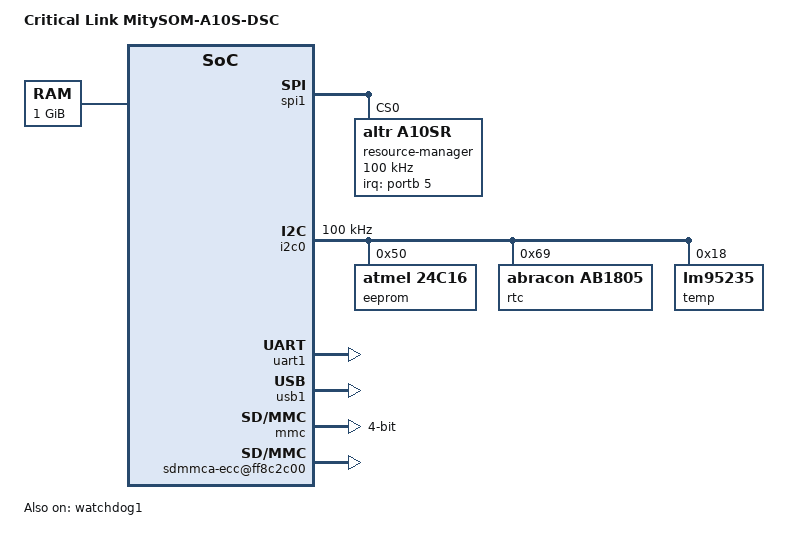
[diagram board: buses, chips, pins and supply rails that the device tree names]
/*
 * Copyright (C) 2015 Altera Corporation <www.altera.com>
 *
 * This program is free software; you can redistribute it and/or modify
 * it under the terms of the GNU General Public License as published by
 * the Free Software Foundation; either version 2 of the License, or
 * (at your option) any later version.
 *
 * This program is distributed in the hope that it will be useful,
 * but WITHOUT ANY WARRANTY; without even the implied warranty of
 * MERCHANTABILITY or FITNESS FOR A PARTICULAR PURPOSE.  See the
 * GNU General Public License for more details.
 *
 * You should have received a copy of the GNU General Public License
 * along with this program.  If not, see <http://www.gnu.org/licenses/>.
 */
#include "socfpga_arria10.dtsi"
#include <dt-bindings/gpio/gpio.h>

/ {
	model = "Critical Link MitySOM-A10S-DSC";
	compatible = "altr,socfpga-arria10", "altr,socfpga";

	aliases {
		ethernet0 = &gmac0;
		serial0 = &uart1;
	};

	chosen {
		bootargs = "earlyprintk";
		stdout-path = "serial0:115200n8";
	};

	memory@0 {
		name = "memory";
		device_type = "memory";
		reg = <0x0 0x40000000>; /* 1GB */
	};

	soc {
		clkmgr@ffd04000 {
			clocks {
				osc1 {
					clock-frequency = <50000000>;
				};
			};
		};
	};
};

&spi1 {
	/* status = "okay"; */

	resource-manager@0 {
		compatible = "altr,a10sr";
		reg = <0>;
		spi-max-frequency = <100000>;
		/* low-level active IRQ at GPIO1_5 */
		interrupt-parent = <&portb>;
		interrupts = <5 IRQ_TYPE_LEVEL_LOW>;
		interrupt-controller;
		#interrupt-cells = <2>;

		a10sr_gpio: gpio-controller {
			compatible = "altr,a10sr-gpio";
			gpio-controller;
			#gpio-cells = <2>;
		};

		a10sr_rst: reset-controller {
			compatible = "altr,a10sr-reset";
			#reset-cells = <1>;
		};

		ps_alarm {
			compatible = "altr,a10sr-hwmon";
		};
	};
};

&i2c0 {
	status = "okay";

	/* start at 100 KHz */
	clock-frequency = <100000>;
	/* TODO - not sure if we need to adjust these */
	/* i2c-sda-falling-time-ns = <6000>; */
	/* i2c-scl-falling-time-ns = <6000>; */

	/* factory config EEPROM */
	eeprom@50 {
		compatible = "atmel,24c16";
		reg = <0x50>;
		pagesize = <16>;
	};

	/* OnBoard Abracon RTC */
	rtc@69 {
		compatible = "abracon,ab1805";
		reg = <0x69>;
	};

	/* OnBoard Temp Sensor (this may just get probed / detected) */
	temp@18 {
		compatible = "lm95235";
		reg = <0x18>;
	};

};

/* console port */
&uart1 {
	status = "okay";
};

/* On-board USB 2.0 OTG PHY */
&usb1 {
	status = "okay";
};

&watchdog1 {
	status = "okay";
};

/* On-board micro-SD card */
&mmc {
	status = "okay";
	num-slots = <1>;
	cap-sd-highspeed;
	broken-cd;
	bus-width = <4>;
};

/* ECC for MMC card DMAs */
&eccmgr {
	sdmmca-ecc@ff8c2c00 {
		compatible = "altr,socfpga-sdmmc-ecc";
		reg = <0xff8c2c00 0x400>;
		altr,ecc-parent = <&mmc>;
		interrupts = <15 IRQ_TYPE_LEVEL_HIGH>,
			     <47 IRQ_TYPE_LEVEL_HIGH>,
			     <16 IRQ_TYPE_LEVEL_HIGH>,
			     <48 IRQ_TYPE_LEVEL_HIGH>;
	};
};

&gpio0 {
	status = "okay";
};

&usbphy0 {
	reset-gpios = <&gpio0 9 GPIO_ACTIVE_LOW>;
};

